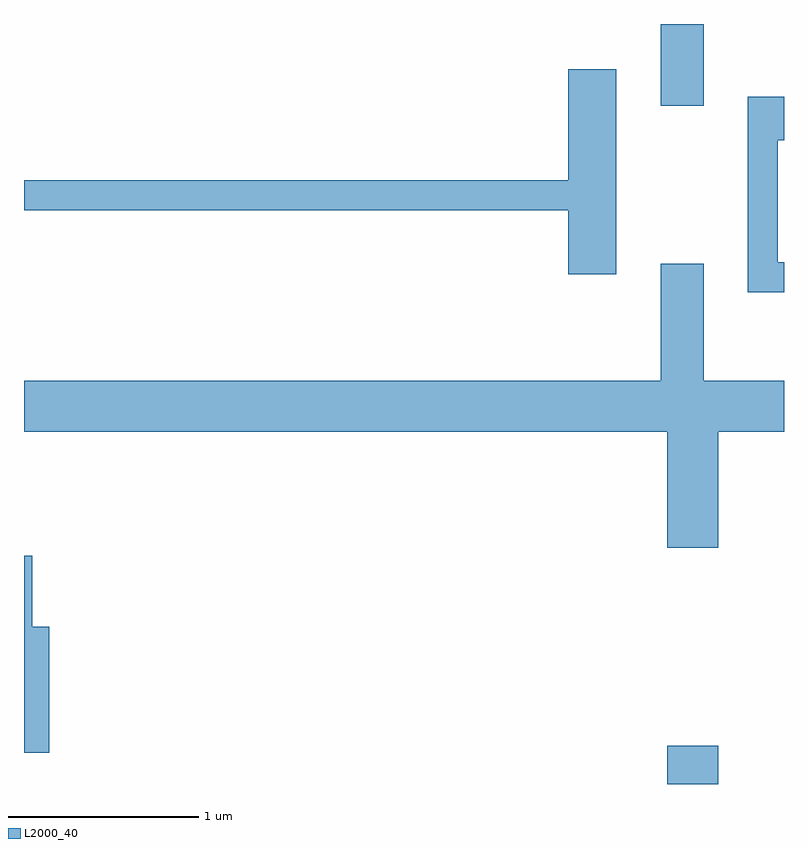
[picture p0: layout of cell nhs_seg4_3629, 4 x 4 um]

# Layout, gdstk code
import gdstk
lib = gdstk.Library(unit=1e-6, precision=1e-09)
def R(c, l, rs):  # rectangles x0, y0, x1, y1
    for r in rs: c.add(gdstk.rectangle(r[:2], r[2:], *l))
def P(c, l, *ps):  # polygons
    for p in ps: c.add(gdstk.Polygon(p, *l))
L2000_40 = (2000, 40)

nhs_seg4_3629 = lib.new_cell('nhs_seg4_3629')
R(nhs_seg4_3629, L2000_40, [(294.996,1303.982,295.264,1304.184), (294.961,1307.551,295.189,1307.982)])
P(nhs_seg4_3629, L2000_40, [(294.729,1307.744),(294.476,1307.744),(294.476,1307.159),(291.611,1307.159),(291.611,1307.001),(294.476,1307.001),(294.476,1306.666),(294.729,1306.666)],
  [(295.611,1306.729),(295.579,1306.729),(295.579,1307.371),(295.611,1307.371),(295.611,1307.599),(295.421,1307.599),(295.421,1306.571),(295.611,1306.571)],
  [(295.264,1305.836),(295.611,1305.836),(295.611,1306.104),(295.189,1306.104),(295.189,1306.719),(294.961,1306.719),(294.961,1306.104),(291.611,1306.104),(291.611,1305.836),(294.996,1305.836),(294.996,1305.226),(295.264,1305.226)],
  [(291.744,1304.809),(291.654,1304.809),(291.654,1305.184),(291.611,1305.184),(291.611,1304.146),(291.744,1304.146)])

lib.write_gds('nhs_seg4_3629.gds')
